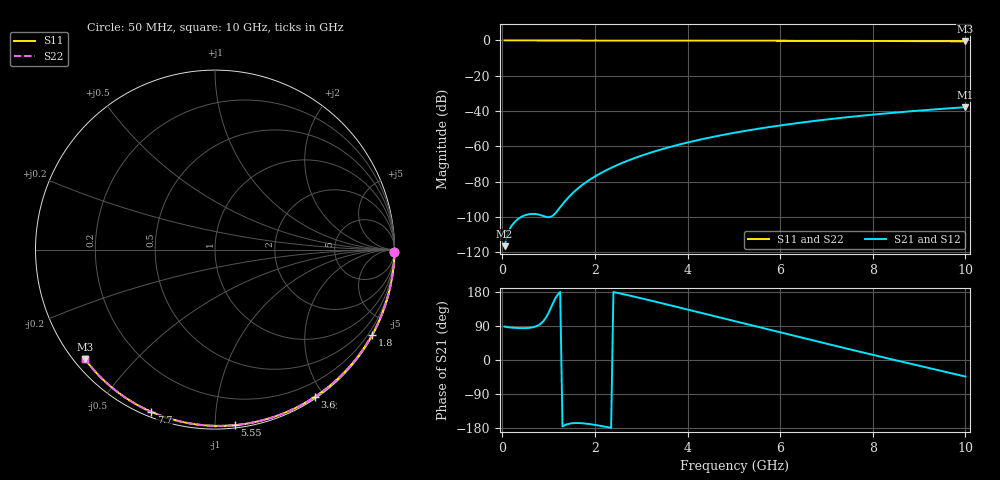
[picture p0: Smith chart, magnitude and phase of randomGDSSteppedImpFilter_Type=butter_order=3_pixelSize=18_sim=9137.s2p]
! freq	dB(S11)	phase(S11)	dB(S12)	phase(S12)
!  dB(S21)	phase(S21)	dB(S22)	phase(S22)
!S-par simulation data
#  GHz  S  DB  R 50
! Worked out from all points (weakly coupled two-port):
!   200 points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, 50 MHz to 10 GHz, reference 50 ohm
!   highest |S21| = -37.77 dB at 10 GHz (marker M1); lowest = -116.4 dB at 50 MHz (marker M2)
!   lowest |S11| = -0.5 dB at 10 GHz (marker M3), VSWR 36.86, Z = 1.54 - j18.3 ohm
!   |S11| at or under -10 dB: nowhere
!   |S22| runs from -0.5 to 0.0 dB; largest |S21 - S12| = 0
!   S11 on the Smith chart (normalised r, x): 50 MHz: open; 1.8 GHz: 0.03, -3.91; 3.6 GHz: 0.02, -1.88; 5.55 GHz: 0.02, -1.12; 7.7 GHz: 0.02, -0.68; 10 GHz: 0.03, -0.37
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0.05  -0.00 -0.8  -116.43 88.2  -116.43 88.2  -0.00 -0.8
0.45  -0.01 -7.3  -99.34 84.0  -99.34 84.0  -0.01 -7.3
0.9  -0.02 -14.5  -99.49 104.5  -99.49 104.5  -0.02 -14.5
1.75  -0.04 -27.9  -81.33 -167.1  -81.33 -167.1  -0.04 -27.9
1.8  -0.04 -28.7  -80.38 -167.7  -80.38 -167.7  -0.04 -28.7
1.85  -0.04 -29.5  -79.47 -168.5  -79.47 -168.5  -0.04 -29.5
2.05  -0.04 -32.6  -76.20 -172.2  -76.20 -172.2  -0.04 -32.6
2.2  -0.04 -34.9  -74.06 -175.5  -74.06 -175.5  -0.04 -34.9
2.55  -0.05 -40.3  -69.74 175.5  -69.74 175.5  -0.05 -40.3
2.95  -0.06 -46.3  -65.70 164.3  -65.70 164.3  -0.06 -46.3
3.4  -0.07 -53.0  -61.92 151.1  -61.92 151.1  -0.07 -53.0
3.6  -0.08 -56.0  -60.43 145.2  -60.43 145.2  -0.08 -56.0
3.9  -0.08 -60.4  -58.39 136.2  -58.39 136.2  -0.08 -60.4
4.3  -0.09 -66.1  -55.95 124.1  -55.95 124.1  -0.09 -66.1
5.05  -0.12 -76.7  -52.07 101.3  -52.07 101.3  -0.12 -76.7
5.55  -0.14 -83.5  -49.87 86.2  -49.87 86.2  -0.14 -83.5
6.1  -0.16 -90.9  -47.73 69.7  -47.73 69.7  -0.16 -90.9
6.7  -0.19 -98.8  -45.67 51.8  -45.67 51.8  -0.19 -98.8
7.7  -0.25 -111.5  -42.76 22.4  -42.76 22.4  -0.25 -111.5
8.35  -0.31 -119.6  -41.14 3.5  -41.14 3.5  -0.31 -119.6
9.2  -0.38 -130.1  -39.28 -20.9  -39.28 -20.9  -0.38 -130.1
10  -0.47 -139.8  -37.77 -43.7  -37.77 -43.7  -0.47 -139.8
